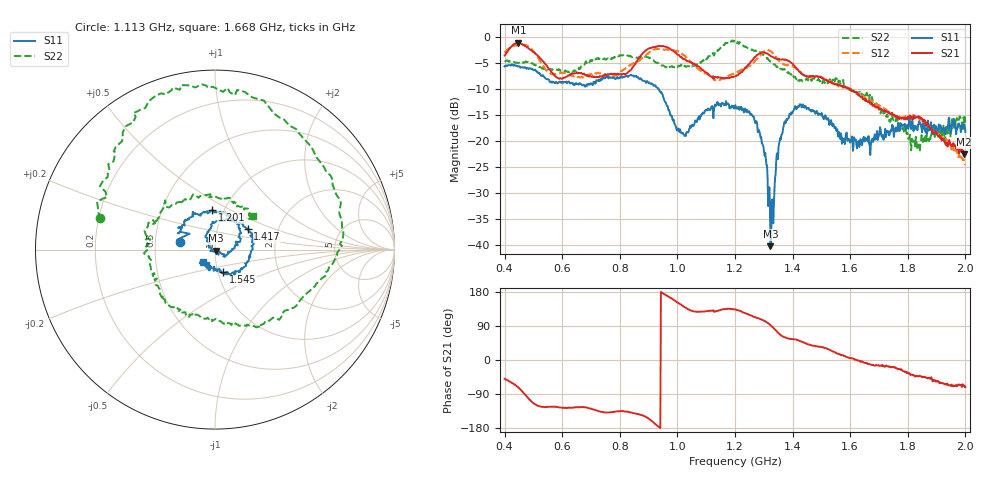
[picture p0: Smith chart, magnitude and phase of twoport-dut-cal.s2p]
! PocketVna 1.60  pocketvna.com
! Live measurements ((Reflection-S11, Transmission-S21, Transmission-S12, Reflection-S22) Linear 400000000-2000000000/800 calibrated)
# Hz S RI R 50
! Hz  ReS11  ImS11  ReS21  ImS21  ReS12  ImS12  ReS22  ImS22
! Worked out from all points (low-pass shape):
!   800 points, 400 MHz to 2 GHz, reference 50 ohm
!   highest |S21| = -0.99 dB at 448.1 MHz (marker M1); lowest = -22.6 dB at 1.996 GHz (marker M2)
!   |S21| within 3 dB of the highest: start of sweep to 523 MHz; 866.8 MHz to 1.017 GHz (150.5 MHz wide, 16 % of centre) (the widest 2 of 3)
!   lowest |S11| = -40.2 dB at 1.323 GHz (marker M3), VSWR 1.02, Z = 50.7 - j0.686 ohm
!   |S11| at or under -10 dB: 935.4 MHz to end of sweep
!   |S22| runs from -22.0 to -0.6 dB; largest |S21 - S12| = 0.14
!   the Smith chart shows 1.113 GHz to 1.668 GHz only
!   S11 on the Smith chart (normalised r, x): 1.113 GHz: 0.67, +0.06; 1.201 GHz: 0.88, +0.41; 1.417 GHz: 1.40, +0.34; 1.545 GHz: 1.06, -0.27; 1.668 GHz: 0.87, -0.12
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4e8  -0.0164 -0.5251  0.4329 -0.5113  0.4839 -0.5255  0.0935 -0.5859
4.480601e8  -0.3399 -0.4047  0.26 -0.8533  0.1605 -0.8252  -0.2749 -0.4954
5.101377e8  -0.4732 0.0253  -0.329 -0.6013  -0.3022 -0.6028  -0.5092 -0.1448
6.683354e8  -0.0222 0.3479  -0.252 -0.3736  -0.251 -0.3298  -0.1212 0.5143
7.38423e8  0.2919 0.2831  -0.3082 -0.2879  -0.3066 -0.3322  0.281 0.5584
8.145181e8  0.4023 -0.096  -0.3177 -0.3118  -0.3774 -0.3113  0.6837 0.0381
8.806008e8  0.1361 -0.3582  -0.5939 -0.3878  -0.5619 -0.315  0.3945 -0.509
9.346683e8  -0.172 -0.2699  -0.8286 -0.0583  -0.7711 -0.053  0.0056 -0.5648
1.020776e9  -0.1087 -0.0435  -0.4836 0.3857  -0.5883 0.3454  -0.3657 -0.3657
1.112891e9  -0.1945 0.0427  -0.2748 0.3275  -0.2433 0.3577  -0.6393 0.1737
1.201001e9  -0.0155 0.2215  -0.29 0.3065  -0.3147 0.3325  -0.0503 0.9148
1.281101e9  0.1238 0.037  -0.238 0.6464  -0.1784 0.6244  0.7078 0.1353
1.323154e9  0.00699 -0.00676  -0.0252 0.6656  0.0153 0.7366  0.5389 -0.2158
1.363204e9  -0.0293 0.1129  0.2715 0.5517  0.2313 0.5116  0.2814 -0.4002
1.417272e9  0.182 0.1147  0.2972 0.3879  0.2989 0.3903  -0.0168 -0.3986
1.467334e9  0.1974 -0.0374  0.3306 0.2613  0.3184 0.2611  -0.2225 -0.319
1.545432e9  0.0445 -0.1261  0.3356 0.1263  0.3319 0.1231  -0.3595 0.0545
1.667584e9  -0.0674 -0.0687  0.231 -0.0445  0.2405 -0.0573  0.2097 0.1863
1.733667e9  -0.1149 -0.00492  0.1831 -0.0594  0.1779 -0.0685  0.1578 -0.0526
1.837797e9  -0.0813 0.12  0.1224 -0.1151  0.1354 -0.1066  -0.0634 -0.0676
1.995995e9  0.1122 0.092  0.0252 -0.07  0.0228 -0.0575  -0.00108 0.1527
2e9  0.0909 0.0825  0.0242 -0.0717  0.0189 -0.0569  0.00663 0.1521
